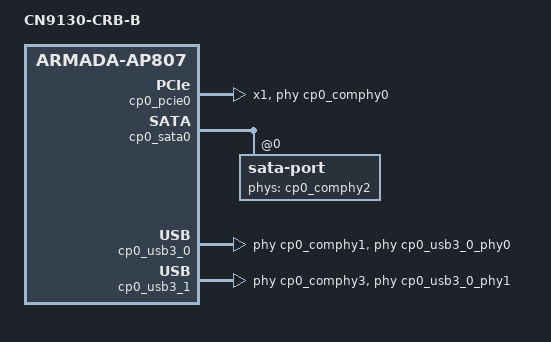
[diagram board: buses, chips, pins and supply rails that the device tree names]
// SPDX-License-Identifier: GPL-2.0+
/*
 * Copyright (C) 2019 Marvell International Ltd.
 */

#include "cn9130-crb.dtsi"

/ {
	model = "CN9130-CRB-B";
	compatible = "marvell,cn9130-crb-B",
		"marvell,armada-ap807-quad",
		"marvell,armada-ap807";
};

&cp0_pcie0 {
	status = "okay";
	num-lanes = <1>;
	num-viewport = <8>;
	/* Generic PHY, providing serdes lanes */
	phys = <&cp0_comphy0 0>;
};

&cp0_sata0 {
	status = "okay";
	sata-port@0 {
		status = "okay";
		/* Generic PHY, providing serdes lanes */
		phys = <&cp0_comphy2 0>;
	};
};

&cp0_usb3_0 {
	status = "okay";
	usb-phy = <&cp0_usb3_0_phy0>;
	phy-names = "usb";
	phys = <&cp0_comphy1 0>;
};

&cp0_usb3_1 {
	status = "okay";
	usb-phy = <&cp0_usb3_0_phy1>;
	phy-names = "usb";
	phys = <&cp0_comphy3 1>;
};
